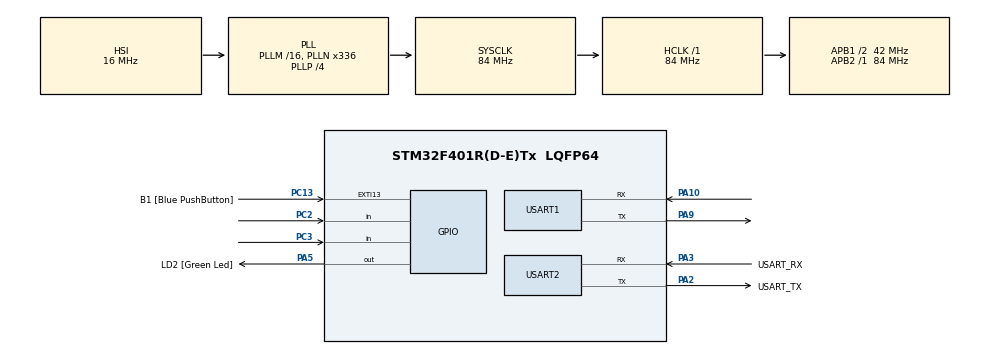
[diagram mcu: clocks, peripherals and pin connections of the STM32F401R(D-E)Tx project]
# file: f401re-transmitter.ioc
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Mcu.Family=STM32F4
Mcu.Name=STM32F401R(D-E)Tx
Mcu.Package=LQFP64
NVIC.PriorityGroup=NVIC_PRIORITYGROUP_0
PA10.Mode=Asynchronous
PA10.Signal=USART1_RX
PA13.GPIO_Label=TMS
PA13.Mode=Serial_Wire
PA13.Signal=SYS_JTMS-SWDIO
PA14.GPIO_Label=TCK
PA14.Mode=Serial_Wire
PA14.Signal=SYS_JTCK-SWCLK
PA2.GPIO_Label=USART_TX
PA2.GPIO_Mode=GPIO_MODE_AF_PP
PA2.GPIO_PuPd=GPIO_NOPULL
PA2.GPIO_Speed=GPIO_SPEED_FREQ_LOW
PA2.Mode=Asynchronous
PA2.Signal=USART2_TX
PA3.GPIO_Label=USART_RX
PA3.GPIO_Mode=GPIO_MODE_AF_PP
PA3.GPIO_PuPd=GPIO_NOPULL
PA3.GPIO_Speed=GPIO_SPEED_FREQ_LOW
PA3.Mode=Asynchronous
PA3.Signal=USART2_RX
PA5.GPIO_Label=LD2 [Green Led]
PA5.GPIO_Mode=GPIO_MODE_OUTPUT_PP
PA5.GPIO_PuPd=GPIO_NOPULL
PA5.GPIO_Speed=GPIO_SPEED_FREQ_LOW
PA5.Signal=GPIO_Output
PA9.Mode=Asynchronous
PA9.Signal=USART1_TX
PB3.GPIO_Label=SWO
PB3.Signal=SYS_JTDO-SWO
PC13-ANTI_TAMP.GPIO_Label=B1 [Blue PushButton]
PC13-ANTI_TAMP.GPIO_ModeDefaultEXTI=GPIO_MODE_IT_FALLING
PC13-ANTI_TAMP.GPIO_PuPd=GPIO_NOPULL
PC13-ANTI_TAMP.Signal=GPXTI13
PC14-OSC32_IN.Mode=LSE-External-Oscillator
PC14-OSC32_IN.Signal=RCC_OSC32_IN
PC15-OSC32_OUT.Mode=LSE-External-Oscillator
PC15-OSC32_OUT.Signal=RCC_OSC32_OUT
PC2.GPIO_PuPd=GPIO_PULLUP
PC2.Signal=GPIO_Input
PC3.GPIO_PuPd=GPIO_PULLUP
PC3.Signal=GPIO_Input
PH0\ -\ OSC_IN.Mode=HSE-External-Clock-Source
PH0\ -\ OSC_IN.Signal=RCC_OSC_IN
PH1\ -\ OSC_OUT.Mode=HSE-External-Clock-Source
PH1\ -\ OSC_OUT.Signal=RCC_OSC_OUT
ProjectManager.HeapSize=0x200
ProjectManager.StackSize=0x400
ProjectManager.TargetToolchain=STM32CubeIDE
RCC.48MHZClocksFreq_Value=48000000
RCC.AHBFreq_Value=84000000
RCC.APB1CLKDivider=RCC_HCLK_DIV2
RCC.APB1Freq_Value=42000000
RCC.APB1TimFreq_Value=84000000
RCC.APB2Freq_Value=84000000
RCC.APB2TimFreq_Value=84000000
RCC.CortexFreq_Value=84000000
RCC.HCLKFreq_Value=84000000
RCC.HSE_VALUE=8000000
RCC.HSI_VALUE=16000000
RCC.PLLN=336
RCC.PLLP=RCC_PLLP_DIV4
RCC.PLLQ=7
RCC.SYSCLKFreq_VALUE=84000000
RCC.SYSCLKSource=RCC_SYSCLKSOURCE_PLLCLK
RCC.VCOOutputFreq_Value=336000000
USART1.VirtualMode=VM_ASYNC
USART2.VirtualMode=VM_ASYNC
board=NUCLEO-F401RE

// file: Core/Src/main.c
/* USER CODE BEGIN Header */
/**
  ******************************************************************************
  * @file           : main.c
  * @brief          : Main program body
  ******************************************************************************
  * @attention
  *
  * Copyright (c) 2024 STMicroelectronics.
  * All rights reserved.
  *
  * This software is licensed under terms that can be found in the LICENSE file
  * in the root directory of this software component.
  * If no LICENSE file comes with this software, it is provided AS-IS.
  *
  ******************************************************************************
  */
/* USER CODE END Header */
#include "main.h"

UART_HandleTypeDef huart1;
UART_HandleTypeDef huart2;

/* USER CODE BEGIN PV */
uint8_t messagebuffer[2];
unsigned char prev_state_button1 = 0; // Track state for Button 1
unsigned char prev_state_button2 = 0; // Track state for Button 2
/* USER CODE END PV */

void SystemClock_Config(void);
static void MX_GPIO_Init(void);
static void MX_USART2_UART_Init(void);
static void MX_USART1_UART_Init(void);

/* USER CODE BEGIN 0 */
void tick_on_button(void) {
    uint8_t current_state = HAL_GPIO_ReadPin(GPIOC, GPIO_PIN_2);
    if (current_state && !prev_state_button1) { // Button is pressed and was previously not pressed
        messagebuffer[0] = 0x06;
        messagebuffer[1] = 0xFF;
        HAL_UART_Transmit(&huart1, messagebuffer, 2, 10); // Send message over UART
        HAL_GPIO_TogglePin(GPIOA, GPIO_PIN_5); // Toggle LED
        HAL_Delay(300); // Optional debouncing (consider alternatives for real-time systems)
    }
    prev_state_button1 = current_state; // Update previous state
}

void tick_off_button(void) {
    uint8_t current_state = HAL_GPIO_ReadPin(GPIOC, GPIO_PIN_3);
    if (!current_state && prev_state_button2) { // Button is released and was previously pressed
        messagebuffer[0] = 0x00;
        messagebuffer[1] = 0x00;
        HAL_UART_Transmit(&huart1, messagebuffer, 2, 10); // Send message over UART
        HAL_GPIO_WritePin(GPIOA, GPIO_PIN_5, GPIO_PIN_RESET); // Turn off the LED
    }
    prev_state_button2 = current_state; // Update previous state
}

/* USER CODE END 0 */

int main(void)
{

  /* MCU Configuration--------------------------------------------------------*/

  /* Reset of all peripherals, Initializes the Flash interface and the Systick. */
  HAL_Init();

  /* USER CODE BEGIN Init */
  HAL_GPIO_WritePin(GPIOA, GPIO_PIN_5, GPIO_PIN_RESET);
  /* USER CODE END Init */

  /* Configure the system clock */
  SystemClock_Config();

  /* Initialize all configured peripherals */
  MX_GPIO_Init();
  MX_USART2_UART_Init();
  MX_USART1_UART_Init();

  /* Infinite loop */
  /* USER CODE BEGIN WHILE */
  while (1)
  {
	  tick_on_button();
	  tick_off_button();
    /* USER CODE END WHILE */

  }
}

void SystemClock_Config(void)
{
  RCC_OscInitTypeDef RCC_OscInitStruct = {0};
  RCC_ClkInitTypeDef RCC_ClkInitStruct = {0};

  /** Configure the main internal regulator output voltage
  */
  __HAL_RCC_PWR_CLK_ENABLE();
  __HAL_PWR_VOLTAGESCALING_CONFIG(PWR_REGULATOR_VOLTAGE_SCALE2);

  /** Initializes the RCC Oscillators according to the specified parameters
  * in the RCC_OscInitTypeDef structure.
  */
  RCC_OscInitStruct.OscillatorType = RCC_OSCILLATORTYPE_HSI;
  RCC_OscInitStruct.HSIState = RCC_HSI_ON;
  RCC_OscInitStruct.HSICalibrationValue = RCC_HSICALIBRATION_DEFAULT;
  RCC_OscInitStruct.PLL.PLLState = RCC_PLL_ON;
  RCC_OscInitStruct.PLL.PLLSource = RCC_PLLSOURCE_HSI;
  RCC_OscInitStruct.PLL.PLLM = 16;
  RCC_OscInitStruct.PLL.PLLN = 336;
  RCC_OscInitStruct.PLL.PLLP = RCC_PLLP_DIV4;
  RCC_OscInitStruct.PLL.PLLQ = 7;
  if (HAL_RCC_OscConfig(&RCC_OscInitStruct) != HAL_OK)
  {
    Error_Handler();
  }

  /** Initializes the CPU, AHB and APB buses clocks
  */
  RCC_ClkInitStruct.ClockType = RCC_CLOCKTYPE_HCLK|RCC_CLOCKTYPE_SYSCLK
                              |RCC_CLOCKTYPE_PCLK1|RCC_CLOCKTYPE_PCLK2;
  RCC_ClkInitStruct.SYSCLKSource = RCC_SYSCLKSOURCE_PLLCLK;
  RCC_ClkInitStruct.AHBCLKDivider = RCC_SYSCLK_DIV1;
  RCC_ClkInitStruct.APB1CLKDivider = RCC_HCLK_DIV2;
  RCC_ClkInitStruct.APB2CLKDivider = RCC_HCLK_DIV1;

  if (HAL_RCC_ClockConfig(&RCC_ClkInitStruct, FLASH_LATENCY_2) != HAL_OK)
  {
    Error_Handler();
  }
}

static void MX_USART1_UART_Init(void)
{

  huart1.Instance = USART1;
  huart1.Init.BaudRate = 115200;
  huart1.Init.WordLength = UART_WORDLENGTH_8B;
  huart1.Init.StopBits = UART_STOPBITS_1;
  huart1.Init.Parity = UART_PARITY_NONE;
  huart1.Init.Mode = UART_MODE_TX_RX;
  huart1.Init.HwFlowCtl = UART_HWCONTROL_NONE;
  huart1.Init.OverSampling = UART_OVERSAMPLING_16;
  if (HAL_UART_Init(&huart1) != HAL_OK)
  {
    Error_Handler();
  }

}

static void MX_USART2_UART_Init(void)
{

  huart2.Instance = USART2;
  huart2.Init.BaudRate = 115200;
  huart2.Init.WordLength = UART_WORDLENGTH_8B;
  huart2.Init.StopBits = UART_STOPBITS_1;
  huart2.Init.Parity = UART_PARITY_NONE;
  huart2.Init.Mode = UART_MODE_TX_RX;
  huart2.Init.HwFlowCtl = UART_HWCONTROL_NONE;
  huart2.Init.OverSampling = UART_OVERSAMPLING_16;
  if (HAL_UART_Init(&huart2) != HAL_OK)
  {
    Error_Handler();
  }

}

static void MX_GPIO_Init(void)
{
  GPIO_InitTypeDef GPIO_InitStruct = {0};

  /* GPIO Ports Clock Enable */
  __HAL_RCC_GPIOC_CLK_ENABLE();
  __HAL_RCC_GPIOH_CLK_ENABLE();
  __HAL_RCC_GPIOA_CLK_ENABLE();
  __HAL_RCC_GPIOB_CLK_ENABLE();

  /*Configure GPIO pin Output Level */
  HAL_GPIO_WritePin(LD2_GPIO_Port, LD2_Pin, GPIO_PIN_RESET);

  /*Configure GPIO pin : B1_Pin */
  GPIO_InitStruct.Pin = B1_Pin;
  GPIO_InitStruct.Mode = GPIO_MODE_IT_FALLING;
  GPIO_InitStruct.Pull = GPIO_NOPULL;
  HAL_GPIO_Init(B1_GPIO_Port, &GPIO_InitStruct);

  /*Configure GPIO pins : PC2 PC3 */
  GPIO_InitStruct.Pin = GPIO_PIN_2|GPIO_PIN_3;
  GPIO_InitStruct.Mode = GPIO_MODE_INPUT;
  GPIO_InitStruct.Pull = GPIO_PULLUP;
  HAL_GPIO_Init(GPIOC, &GPIO_InitStruct);

  /*Configure GPIO pin : LD2_Pin */
  GPIO_InitStruct.Pin = LD2_Pin;
  GPIO_InitStruct.Mode = GPIO_MODE_OUTPUT_PP;
  GPIO_InitStruct.Pull = GPIO_NOPULL;
  GPIO_InitStruct.Speed = GPIO_SPEED_FREQ_LOW;
  HAL_GPIO_Init(LD2_GPIO_Port, &GPIO_InitStruct);

}

void Error_Handler(void)
{
  __disable_irq();
  while (1)
  {
  }
}
